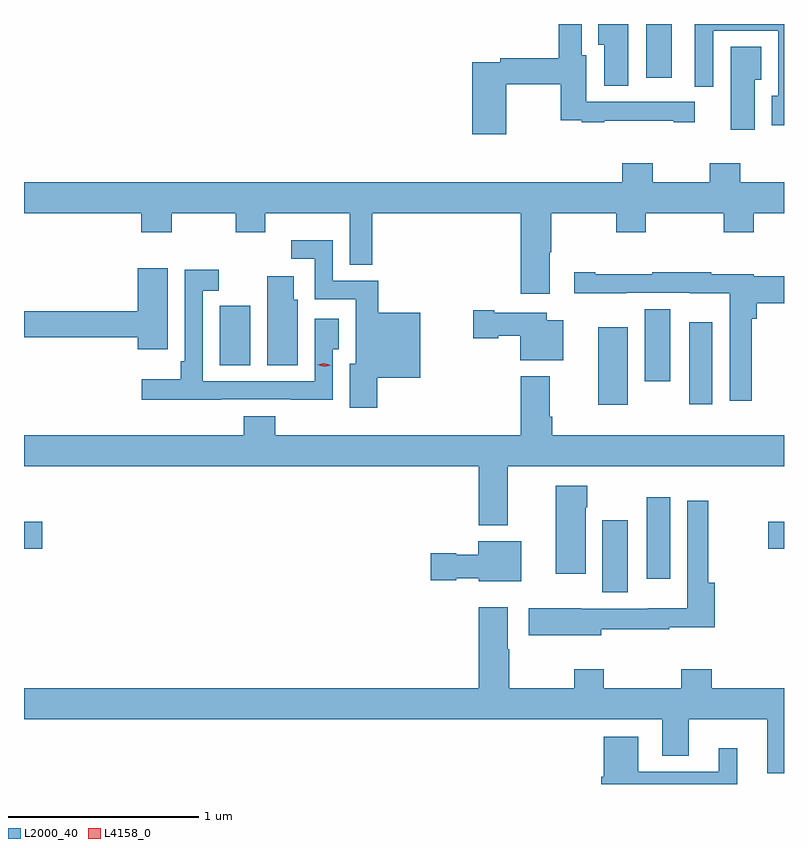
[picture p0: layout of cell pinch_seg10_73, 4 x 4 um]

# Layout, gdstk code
import gdstk
lib = gdstk.Library(unit=1e-6, precision=1e-09)
def R(c, l, rs):  # rectangles x0, y0, x1, y1
    for r in rs: c.add(gdstk.rectangle(r[:2], r[2:], *l))
def P(c, l, *ps):  # polygons
    for p in ps: c.add(gdstk.Polygon(p, *l))
L2000_40 = (2000, 40)
L4158_0 = (4158, 0)

pinch_seg10_73 = lib.new_cell('pinch_seg10_73')
R(pinch_seg10_73, L2000_40, [(819.806,1298.32,819.94,1298.701), (820.04,1298.391,820.162,1298.821), (816.762,1298.549,816.859,1298.691), (820.68,1298.549,820.762,1298.691), (819.785,1299.309,819.94,1299.715), (820.262,1299.312,820.384,1299.742), (820.028,1299.432,820.162,1299.812), (817.793,1299.517,817.954,1299.828), (820.037,1301.028,820.171,1301.312)])
P(pinch_seg10_73, L2000_40, [(819.943,1301.312),(819.785,1301.312),(819.785,1301.203),(819.815,1301.203),(819.815,1300.987),(819.943,1300.987)],
  [(819.3,1300.996),(819.586,1300.996),(819.586,1300.806),(819.697,1300.806),(819.697,1300.794),(819.817,1300.794),(819.817,1300.804),(820.181,1300.804),(820.181,1300.794),(820.293,1300.794),(820.293,1300.902),(819.721,1300.902),(819.721,1301.148),(819.697,1301.148),(819.697,1301.312),(819.576,1301.312),(819.576,1301.132),(819.268,1301.132),(819.268,1301.112),(819.122,1301.112),(819.122,1300.731),(819.3,1300.731)],
  [(820.762,1301.312),(820.293,1301.312),(820.293,1300.983),(820.389,1300.983),(820.389,1301.277),(820.731,1301.277),(820.731,1300.935),(820.697,1300.935),(820.697,1300.779),(820.762,1300.779)],
  [(820.609,1301.018),(820.642,1301.018),(820.642,1301.192),(820.481,1301.192),(820.481,1300.755),(820.609,1300.755)],
  [(819.529,1300.112),(819.537,1300.112),(819.537,1300.316),(819.88,1300.316),(819.88,1300.217),(820.035,1300.217),(820.035,1300.316),(820.444,1300.316),(820.444,1300.217),(820.604,1300.217),(820.604,1300.316),(820.762,1300.316),(820.762,1300.48),(820.532,1300.48),(820.532,1300.579),(820.372,1300.579),(820.372,1300.48),(820.071,1300.48),(820.071,1300.579),(819.911,1300.579),(819.911,1300.48),(816.762,1300.48),(816.762,1300.316),(817.379,1300.316),(817.379,1300.217),(817.539,1300.217),(817.539,1300.316),(817.876,1300.316),(817.876,1300.217),(818.031,1300.217),(818.031,1300.316),(818.477,1300.316),(818.477,1300.045),(818.596,1300.045),(818.596,1300.316),(819.377,1300.316),(819.377,1299.891),(819.529,1299.891)],
  [(818.621,1299.449),(818.848,1299.449),(818.848,1299.793),(818.626,1299.793),(818.626,1299.96),(818.388,1299.96),(818.388,1300.174),(818.169,1300.174),(818.169,1300.077),(818.292,1300.077),(818.292,1299.864),(818.507,1299.864),(818.507,1299.523),(818.477,1299.523),(818.477,1299.291),(818.621,1299.291)],
  [(817.519,1300.027),(817.361,1300.027),(817.361,1299.8),(816.762,1299.8),(816.762,1299.664),(817.361,1299.664),(817.361,1299.6),(817.519,1299.6)],
  [(817.801,1299.336),(818.167,1299.336),(818.167,1299.335),(818.388,1299.335),(818.388,1299.601),(818.419,1299.601),(818.419,1299.76),(818.292,1299.76),(818.292,1299.432),(817.704,1299.432),(817.704,1299.909),(817.786,1299.909),(817.786,1300.018),(817.608,1300.018),(817.608,1299.538),(817.588,1299.538),(817.588,1299.442),(817.383,1299.442),(817.383,1299.335),(817.801,1299.335)],
  [(820.592,1299.761),(820.619,1299.761),(820.619,1299.842),(820.762,1299.842),(820.762,1299.984),(820.602,1299.984),(820.602,1299.996),(820.379,1299.996),(820.379,1300.006),(820.069,1300.006),(820.069,1299.996),(819.769,1299.996),(819.769,1300.006),(819.657,1300.006),(819.657,1299.896),(819.932,1299.896),(819.932,1299.897),(820.266,1299.897),(820.266,1299.896),(820.476,1299.896),(820.476,1299.33),(820.592,1299.33)],
  [(818.203,1299.861),(818.182,1299.861),(818.182,1299.985),(818.042,1299.985),(818.042,1299.517),(818.203,1299.517)],
  [(819.601,1299.754),(819.514,1299.754),(819.514,1299.793),(819.238,1299.793),(819.238,1299.806),(819.126,1299.806),(819.126,1299.659),(819.258,1299.659),(819.258,1299.671),(819.374,1299.671),(819.374,1299.542),(819.601,1299.542)],
  [(819.307,1298.984),(820.762,1298.984),(820.762,1299.148),(819.542,1299.148),(819.542,1299.244),(819.529,1299.244),(819.529,1299.457),(819.377,1299.457),(819.377,1299.148),(818.084,1299.148),(818.084,1299.247),(817.919,1299.247),(817.919,1299.148),(816.762,1299.148),(816.762,1298.984),(819.155,1298.984),(819.155,1298.675),(819.307,1298.675)],
  [(819.718,1298.768),(819.726,1298.768),(819.726,1298.881),(819.56,1298.881),(819.56,1298.418),(819.718,1298.418)],
  [(819.799,1298.127),(820.157,1298.127),(820.157,1298.137),(820.397,1298.137),(820.397,1298.371),(820.363,1298.371),(820.363,1298.803),(820.254,1298.803),(820.254,1298.236),(820.044,1298.236),(820.044,1298.235),(819.695,1298.235),(819.695,1298.236),(819.419,1298.236),(819.419,1298.096),(819.799,1298.096)],
  [(819.379,1298.59),(819.152,1298.59),(819.152,1298.518),(819.036,1298.518),(819.036,1298.526),(818.904,1298.526),(818.904,1298.384),(819.036,1298.384),(819.036,1298.396),(819.156,1298.396),(819.156,1298.378),(819.379,1298.378)],
  [(820.762,1297.816),(820.382,1297.816),(820.382,1297.915),(820.222,1297.915),(820.222,1297.816),(819.813,1297.816),(819.813,1297.915),(819.658,1297.915),(819.658,1297.816),(819.315,1297.816),(819.315,1298.021),(819.307,1298.021),(819.307,1298.242),(819.155,1298.242),(819.155,1297.816),(816.762,1297.816),(816.762,1297.652),(820.121,1297.652),(820.121,1297.462),(820.261,1297.462),(820.261,1297.652),(820.673,1297.652),(820.673,1297.368),(820.762,1297.368)],
  [(820.516,1297.501),(820.418,1297.501),(820.418,1297.377),(819.994,1297.377),(819.994,1297.561),(819.812,1297.561),(819.812,1297.35),(819.8,1297.35),(819.8,1297.312),(820.516,1297.312)])
P(pinch_seg10_73, L4158_0, [(818.341,1299.507),(818.306,1299.518),(818.306,1299.519),(818.306,1299.519),(818.342,1299.527),(818.378,1299.516),(818.378,1299.516),(818.378,1299.516)])

lib.write_gds('pinch_seg10_73.gds')
